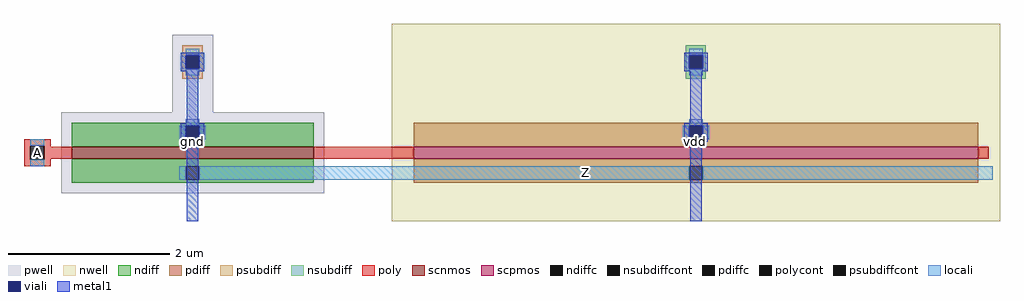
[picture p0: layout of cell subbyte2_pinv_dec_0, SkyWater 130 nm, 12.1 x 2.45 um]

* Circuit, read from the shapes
.subckt subbyte2_pinv_dec_0 A Z gnd vdd
XM1 gnd A Z gnd sky130_fd_pr__nfet_01v8 w=3 l=0.15
XM2 vdd A Z vdd sky130_fd_pr__pfet_01v8 w=7 l=0.15
.ends

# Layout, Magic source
magic
tech sky130A
magscale 1 2
<< nwell >>
rect 956 0 2464 490
<< pwell >>
rect 411 271 513 462
rect 136 69 788 271
<< scnmos >>
rect 162 155 762 185
<< scpmos >>
rect 1010 155 2410 185
<< ndiff >>
rect 162 237 762 245
rect 162 203 445 237
rect 479 203 762 237
rect 162 185 762 203
rect 162 137 762 155
rect 162 103 445 137
rect 479 103 762 137
rect 162 95 762 103
<< pdiff >>
rect 1010 237 2410 245
rect 1010 203 1693 237
rect 1727 203 2410 237
rect 1010 185 2410 203
rect 1010 137 2410 155
rect 1010 103 1693 137
rect 1727 103 2410 137
rect 1010 95 2410 103
<< ndiffc >>
rect 445 203 479 237
rect 445 103 479 137
<< pdiffc >>
rect 1693 203 1727 237
rect 1693 103 1727 137
<< psubdiff >>
rect 437 412 487 436
rect 437 378 445 412
rect 479 378 487 412
rect 437 354 487 378
<< nsubdiff >>
rect 1685 412 1735 436
rect 1685 378 1693 412
rect 1727 378 1735 412
rect 1685 354 1735 378
<< psubdiffcont >>
rect 445 378 479 412
<< nsubdiffcont >>
rect 1693 378 1727 412
<< poly >>
rect 44 187 110 203
rect 44 153 60 187
rect 94 185 110 187
rect 94 155 162 185
rect 762 155 1010 185
rect 2410 155 2436 185
rect 94 153 110 155
rect 44 137 110 153
<< polycont >>
rect 60 153 94 187
<< locali >>
rect 445 412 479 428
rect 445 362 479 378
rect 1693 412 1727 428
rect 1693 362 1727 378
rect 445 237 479 253
rect 1693 237 1727 253
rect 429 203 445 237
rect 479 203 495 237
rect 1677 203 1693 237
rect 1727 203 1743 237
rect 60 187 94 203
rect 445 187 479 203
rect 1693 187 1727 203
rect 60 137 94 153
rect 429 103 445 137
rect 479 103 1693 137
rect 1727 103 2446 137
<< viali >>
rect 445 378 479 412
rect 1693 378 1727 412
rect 445 203 479 237
rect 1693 203 1727 237
<< metal1 >>
rect 433 412 491 418
rect 433 378 445 412
rect 479 378 491 412
rect 433 372 491 378
rect 1681 412 1739 418
rect 1681 378 1693 412
rect 1727 378 1739 412
rect 1681 372 1739 378
rect 448 243 476 372
rect 1696 243 1724 372
rect 433 237 491 243
rect 433 203 445 237
rect 479 203 491 237
rect 433 197 491 203
rect 1681 237 1739 243
rect 1681 203 1693 237
rect 1727 203 1739 237
rect 1681 197 1739 203
rect 448 0 476 197
rect 1696 0 1724 197
<< labels >>
rlabel locali s 77 170 77 170 4 A
port 2 nsew
rlabel locali s 1437 120 1437 120 4 Z
port 3 nsew
rlabel metal1 s 448 0 476 395 4 gnd
port 5 nsew
rlabel metal1 s 1696 0 1724 395 4 vdd
port 7 nsew
<< properties >>
string FIXED_BBOX 0 0 2446 41
<< end >>
